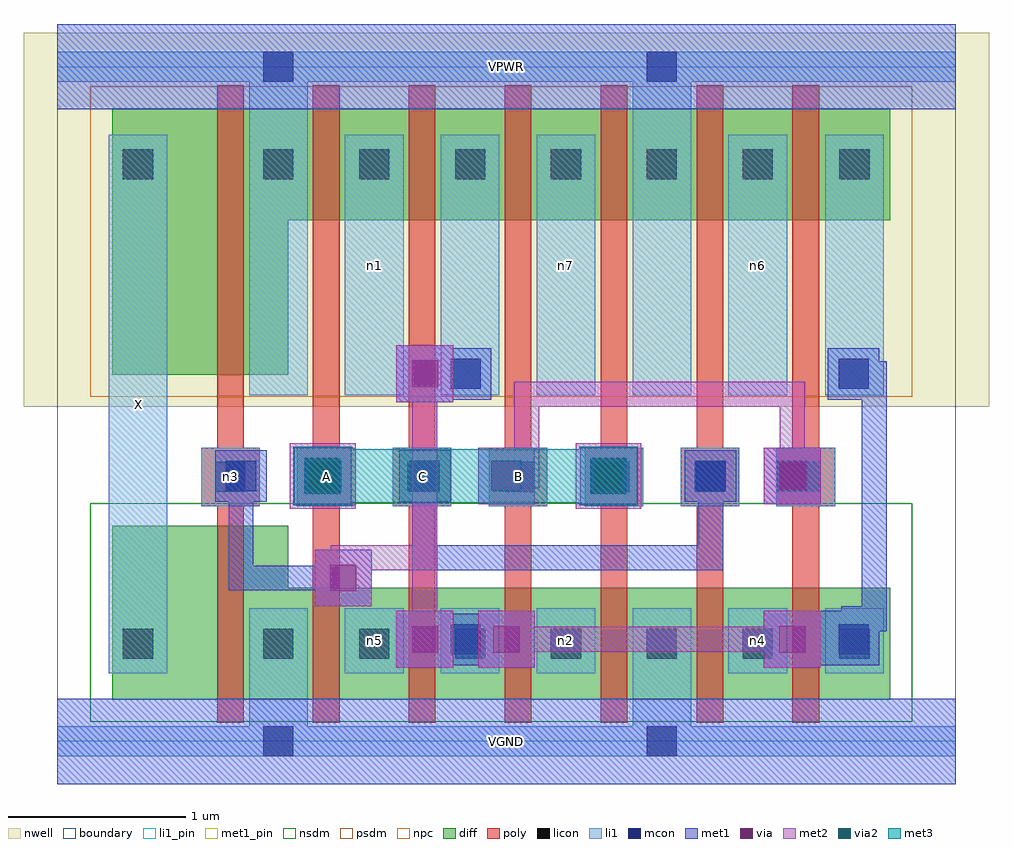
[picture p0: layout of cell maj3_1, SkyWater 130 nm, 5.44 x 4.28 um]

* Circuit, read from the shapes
.subckt maj3_1 A B C VGND VPWR X n1 n2 n3 n4 n5 n6 n7
XM1 VGND n3 X VSUBS sky130_fd_pr__nfet_01v8 w=0.98 l=0.15
XM2 n5 A VGND VSUBS sky130_fd_pr__nfet_01v8 w=0.63 l=0.15
XM3 n3 C n5 VSUBS sky130_fd_pr__nfet_01v8 w=0.63 l=0.15
XM4 n2 B n3 VSUBS sky130_fd_pr__nfet_01v8 w=0.63 l=0.15
XM5 VGND A n2 VSUBS sky130_fd_pr__nfet_01v8 w=0.63 l=0.15
XM6 n4 C VGND VSUBS sky130_fd_pr__nfet_01v8 w=0.63 l=0.15
XM7 n3 B n4 VSUBS sky130_fd_pr__nfet_01v8 w=0.63 l=0.15
XM8 VPWR n3 X n8 sky130_fd_pr__pfet_01v8 w=1.5 l=0.15
XM9 n1 A VPWR n8 sky130_fd_pr__pfet_01v8 w=0.63 l=0.15
XM10 n3 C n1 n8 sky130_fd_pr__pfet_01v8 w=0.63 l=0.15
XM11 n7 B n3 n8 sky130_fd_pr__pfet_01v8 w=0.63 l=0.15
XM12 VPWR A n7 n8 sky130_fd_pr__pfet_01v8 w=0.63 l=0.15
XM13 n6 C VPWR n8 sky130_fd_pr__pfet_01v8 w=0.63 l=0.15
XM14 n3 B n6 n8 sky130_fd_pr__pfet_01v8 w=0.63 l=0.15
.ends

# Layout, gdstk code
import gdstk
lib = gdstk.Library(unit=1e-6, precision=1e-09)
def R(c, l, rs):  # rectangles x0, y0, x1, y1
    for r in rs: c.add(gdstk.rectangle(r[:2], r[2:], *l))
def A(c, l, x, y, w, h, nx, ny, dx, dy):  # array of equal rectangles
    R(c, l, [(x+i*dx, y+j*dy, x+i*dx+w, y+j*dy+h) for i in range(nx) for j in range(ny)])
nwell = (64, 20)
diff = (65, 20)
poly = (66, 20)
licon = (66, 44)
li1_pin = (67, 16)
li1 = (67, 20)
mcon = (67, 44)
met1_pin = (68, 16)
met1 = (68, 20)
via = (68, 44)
met2 = (69, 20)
via2 = (69, 44)
met3 = (70, 20)
nsdm = (93, 44)
psdm = (94, 20)
npc = (95, 20)
boundary = (235, 4)

maj3_1 = lib.new_cell('maj3_1')
R(maj3_1, nwell, [(-0.19,1.885,5.25,3.99), (0,1.885,5.06,3.99)])
R(maj3_1, diff, [(0.31,0.235,1.3,1.215), (1.05,0.235,4.69,0.865), (0.31,2.065,1.3,3.565), (1.05,2.935,4.69,3.565)])
A(maj3_1, poly, 0.9, 0.105, 0.15, 3.59, 7, 1, 0.54, 0)
A(maj3_1, poly, 0.81, 1.325, 0.33, 0.33, 7, 1, 0.54, 0)
A(maj3_1, licon, 1.16, 0.465, 0.17, 0.17, 6, 2, 0.54, 2.7)
A(maj3_1, licon, 0.89, 1.405, 0.17, 0.17, 7, 1, 0.54, 0)
R(maj3_1, licon, [(0.37,0.465,0.54,0.635), (4.405,0.465,4.575,0.635), (0.37,3.165,0.54,3.335), (4.405,3.165,4.575,3.335)])
A(maj3_1, li1_pin, 1.35, 1.325, 0.33, 0.33, 3, 1, 0.54, 0)
R(maj3_1, li1_pin, [(0.29,0.385,0.62,3.415)])
A(maj3_1, li1, 1.62, 0.385, 0.33, 0.365, 3, 1, 0.54, 0)
A(maj3_1, li1, 0.81, 1.325, 0.33, 0.33, 7, 1, 0.54, 0)
A(maj3_1, li1, 1.62, 1.95, 0.33, 1.465, 3, 1, 0.54, 0)
R(maj3_1, li1, [(0,-0.085,5.06,0.085), (1.08,-0.085,1.41,0.75), (3.24,-0.085,3.57,0.75), (0.29,0.385,0.62,3.415), (3.78,0.385,4.11,0.75), (4.325,0.385,4.655,0.75), (1.08,1.95,1.41,3.885), (3.24,1.95,3.57,3.885), (3.78,1.95,4.11,3.415), (4.325,1.95,4.655,3.415), (0,3.715,5.06,3.885)])
A(maj3_1, mcon, 2.445, 1.41, 0.17, 0.17, 3, 1, 0.575, 0)
R(maj3_1, mcon, [(1.16,-0.085,1.33,0.085), (3.32,-0.085,3.49,0.085), (2.215,0.49,2.385,0.66), (4.4,0.49,4.57,0.66), (0.95,1.41,1.12,1.58), (1.41,1.41,1.58,1.58), (1.985,1.41,2.155,1.58), (4.055,1.41,4.225,1.58), (2.215,1.985,2.385,2.155), (4.4,1.985,4.57,2.155), (1.16,3.715,1.33,3.885), (3.32,3.715,3.49,3.885)])
R(maj3_1, met1_pin, [(0,-0.24,5.06,0.24), (0,3.56,5.06,4.04)])
A(maj3_1, met1, 2.385, 1.35, 0.29, 0.29, 3, 1, 0.575, 0)
R(maj3_1, met1, [(0,-0.24,5.06,0.24), (1.91,0.415,2.23,0.735), (2.37,0.415,2.69,0.735), (3.98,0.415,4.3,0.735), (2.155,0.43,2.445,0.72), (4.3,0.43,4.34,0.72), (4.34,0.43,4.63,0.72), (2,0.505,2.37,0.645), (2.23,0.505,2.6,0.645), (4.07,0.505,4.555,0.645), (4.3,0.505,4.415,0.735), (4.415,0.505,4.555,0.76), (4.3,0.62,4.415,0.735), (4.415,0.62,4.67,0.76), (4.53,0.62,4.67,2.14), (1.45,0.76,1.77,1.08), (0.965,0.85,1.68,0.99), (0.965,0.85,1.105,1.565), (2,0.965,2.14,1.565), (2,0.965,3.75,1.105), (3.61,0.965,3.75,1.565), (1.335,1.335,1.655,1.655), (2.37,1.335,2.69,1.655), (2.945,1.335,3.265,1.655), (3.98,1.335,4.3,1.655), (0.89,1.35,1.18,1.64), (1.35,1.35,1.64,1.64), (1.925,1.35,2.215,1.64), (3.995,1.35,4.285,1.64), (1.91,1.91,2.23,2.23), (2.155,1.925,2.445,2.215), (4.34,1.925,4.63,2.215), (2,2,2.37,2.14), (4.415,2,4.67,2.14), (0,3.56,5.06,4.04)])
R(maj3_1, via, [(1.995,0.5,2.145,0.65), (2.455,0.5,2.605,0.65), (4.065,0.5,4.215,0.65), (1.535,0.845,1.685,0.995), (1.42,1.42,1.57,1.57), (2.455,1.42,2.605,1.57), (3.03,1.42,3.18,1.57), (4.065,1.42,4.215,1.57), (1.995,1.995,2.145,2.145)])
R(maj3_1, met2, [(1.91,0.415,2.23,0.735), (2.37,0.415,2.69,0.735), (3.98,0.415,4.3,0.735), (2,0.505,2.14,2.14), (2.46,0.505,4.21,0.645), (1.45,0.76,1.77,1.08), (1.54,0.85,1.68,1.105), (1.54,0.965,2.14,1.105), (1.31,1.31,1.68,1.68), (2.92,1.31,3.29,1.68), (1.335,1.335,1.655,1.655), (2.37,1.335,2.69,1.655), (2.945,1.335,3.265,1.655), (3.98,1.335,4.3,1.655), (2.46,1.425,2.715,1.565), (2.575,1.425,2.715,2.025), (4.07,1.425,4.21,2.025), (2.575,1.885,4.21,2.025), (1.91,1.91,2.23,2.23)])
R(maj3_1, via2, [(1.395,1.395,1.595,1.595), (3.005,1.395,3.205,1.595)])
R(maj3_1, met3, [(1.33,1.33,1.66,1.66), (2.94,1.33,3.27,1.66), (1.345,1.345,3.255,1.645)])
R(maj3_1, nsdm, [(0.185,0.11,4.815,1.34)])
R(maj3_1, psdm, [(0.185,1.94,4.815,3.69)])
A(maj3_1, npc, 0.81, 1.325, 0.33, 0.33, 7, 1, 0.54, 0)
R(maj3_1, boundary, [(0,0,5.06,3.8)])
maj3_1.add(gdstk.Label('A', (1.515,1.49), layer=67, texttype=5))
maj3_1.add(gdstk.Label('B', (2.595,1.49), layer=67, texttype=5))
maj3_1.add(gdstk.Label('C', (2.055,1.49), layer=67, texttype=5))
maj3_1.add(gdstk.Label('X', (0.455,1.9), layer=67, texttype=5))
maj3_1.add(gdstk.Label('n3', (0.975,1.49), layer=67, texttype=5))
maj3_1.add(gdstk.Label('n5', (1.785,0.567), layer=67, texttype=5))
maj3_1.add(gdstk.Label('n2', (2.865,0.567), layer=67, texttype=5))
maj3_1.add(gdstk.Label('n4', (3.945,0.567), layer=67, texttype=5))
maj3_1.add(gdstk.Label('n1', (1.785,2.682), layer=67, texttype=5))
maj3_1.add(gdstk.Label('n7', (2.865,2.682), layer=67, texttype=5))
maj3_1.add(gdstk.Label('n6', (3.945,2.682), layer=67, texttype=5))
maj3_1.add(gdstk.Label('VPWR', (2.53,3.8), layer=68, texttype=5))
maj3_1.add(gdstk.Label('VGND', (2.53,0), layer=68, texttype=5))
maj3_1.add(gdstk.Label('A', (1.515,1.49), layer=67, texttype=16))
maj3_1.add(gdstk.Label('B', (2.595,1.49), layer=67, texttype=16))
maj3_1.add(gdstk.Label('C', (2.055,1.49), layer=67, texttype=16))
maj3_1.add(gdstk.Label('X', (0.455,1.9), layer=67, texttype=16))
maj3_1.add(gdstk.Label('VPWR', (2.53,3.8), layer=68, texttype=16))
maj3_1.add(gdstk.Label('VGND', (2.53,0), layer=68, texttype=16))

lib.write_gds('maj3_1.gds')
